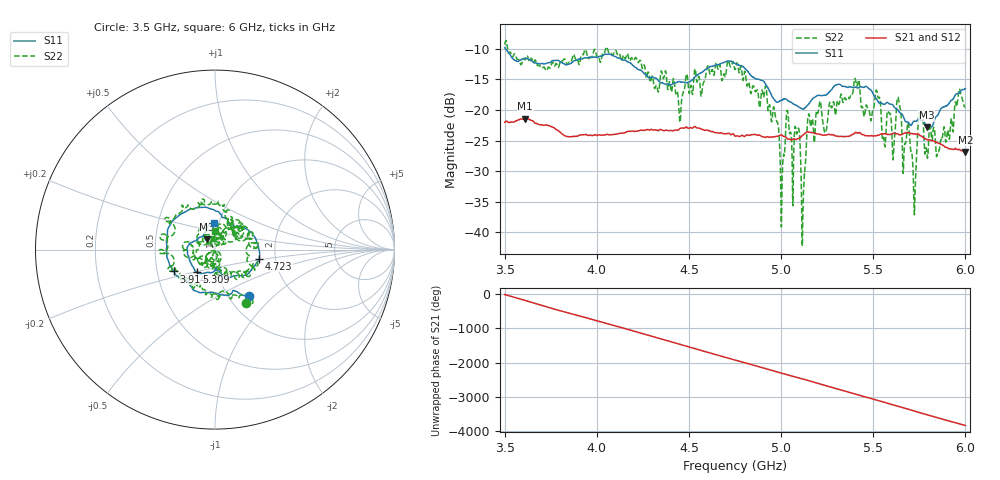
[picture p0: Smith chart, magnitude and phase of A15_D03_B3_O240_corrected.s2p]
! Created with skrf 1.9.0 (http://scikit-rf.org).
# Hz S RI R 50.0
!freq ReS11 ImS11 ReS21 ImS21 ReS12 ImS12 ReS22 ImS22
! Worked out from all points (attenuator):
!   1601 points, 3.5 GHz to 6 GHz, reference 50 ohm
!   highest |S21| = -21.42 dB at 3.611 GHz (marker M1); lowest = -26.9 dB at 6 GHz (marker M2)
!   lowest |S11| = -22.8 dB at 5.791 GHz (marker M3), VSWR 1.16, Z = 45.6 + j5.34 ohm
!   |S11| at or under -10 dB: 3.506 GHz to end of sweep
!   |S22| runs from -42.3 to -8.6 dB; largest |S21 - S12| = 0.00098
!   S11 on the Smith chart (normalised r, x): 3.5 GHz: 1.24, -0.72; 3.914 GHz: 0.61, -0.16; 4.723 GHz: 1.64, -0.18; 5.309 GHz: 0.79, -0.20; 6 GHz: 0.94, +0.29
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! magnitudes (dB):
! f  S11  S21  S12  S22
! 3.5 GHz  -9.8  -22.0  -22.0  -9.3
! 3.611 GHz  -11.5  -21.4  -21.4  -11.8
! 3.914 GHz  -11.7  -24.1  -24.0  -11.3
! 3.917 GHz  -11.7  -24.1  -24.1  -11.0
! 4.334 GHz  -15.2  -23.4  -23.3  -17.0
! 4.453 GHz  -15.4  -23.0  -23.0  -21.7
! 4.723 GHz  -12.0  -23.9  -23.9  -12.9
! 4.75 GHz  -12.4  -24.3  -24.2  -13.4
! 4.969 GHz  -18.5  -24.4  -24.3  -21.0
! 5.006 GHz  -18.4  -24.1  -24.1  -31.0
! 5.034 GHz  -18.4  -24.7  -24.6  -20.1
! 5.088 GHz  -19.3  -24.7  -24.7  -23.6
! 5.119 GHz  -19.8  -24.1  -24.0  -36.4
! 5.167 GHz  -18.3  -23.7  -23.7  -21.5
! 5.309 GHz  -15.8  -24.3  -24.3  -18.7
! 5.584 GHz  -18.9  -24.0  -24.0  -20.4
! 5.611 GHz  -19.4  -23.8  -23.7  -26.7
! 5.639 GHz  -20.3  -24.0  -24.0  -18.5
! 5.722 GHz  -21.8  -23.9  -23.8  -36.3
! 5.756 GHz  -21.6  -24.2  -24.1  -21.2
! 5.791 GHz  -22.8  -24.8  -24.8  -27.0
! 6 GHz  -16.5  -26.9  -26.8  -19.5
